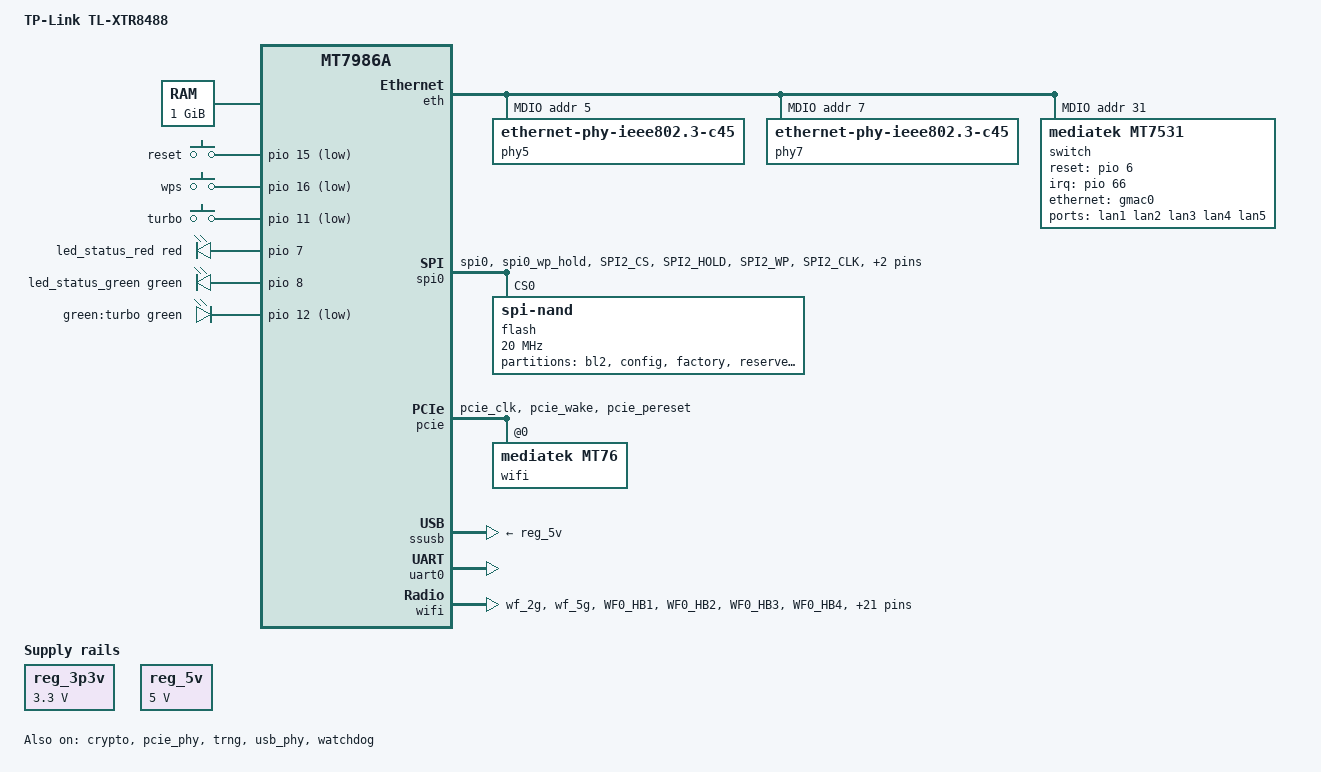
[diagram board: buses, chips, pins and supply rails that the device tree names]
// SPDX-License-Identifier: GPL-2.0-or-later OR MIT

/dts-v1/;
#include <dt-bindings/gpio/gpio.h>
#include <dt-bindings/input/input.h>
#include <dt-bindings/leds/common.h>

#include "mt7986a.dtsi"

/ {
	model = "TP-Link TL-XTR8488";
	compatible = "tplink,tl-xtr8488", "mediatek,mt7986a";

	aliases {
		serial0 = &uart0;
		label-mac-device = &gmac0;
		led-boot = &led_status_green;
		led-failsafe = &led_status_red;
		led-running = &led_status_green;
		led-upgrade = &led_status_red;
	};

	chosen {
		bootargs = "root=/dev/fit0 rootwait";
		rootdisk = <&ubi_rootdisk>;
		stdout-path = "serial0:115200n8";
	};

	memory {
		reg = <0 0x40000000 0 0x40000000>;
	};

	reg_3p3v: regulator-3p3v {
		compatible = "regulator-fixed";
		regulator-name = "fixed-3.3V";
		regulator-min-microvolt = <3300000>;
		regulator-max-microvolt = <3300000>;
		regulator-boot-on;
		regulator-always-on;
	};

	reg_5v: regulator-5v {
		compatible = "regulator-fixed";
		regulator-name = "fixed-5V";
		regulator-min-microvolt = <5000000>;
		regulator-max-microvolt = <5000000>;
		regulator-boot-on;
		regulator-always-on;
	};

	keys {
		compatible = "gpio-keys";

		reset {
			label = "reset";
			linux,code = <KEY_RESTART>;
			gpios = <&pio 15 GPIO_ACTIVE_LOW>;
		};

		wps {
			label = "wps";
			linux,code = <KEY_WPS_BUTTON>;
			gpios = <&pio 16 GPIO_ACTIVE_LOW>;
		};

		turbo {
			label = "turbo";
			linux,code = <BTN_1>;
			gpios = <&pio 11 GPIO_ACTIVE_LOW>;
		};
	};

	leds {
		compatible = "gpio-leds";

		led_status_red: status-red {
			color = <LED_COLOR_ID_RED>;
			function = LED_FUNCTION_STATUS;
			gpios = <&pio 7 GPIO_ACTIVE_HIGH>;
		};

		led_status_green: status-green {
			color = <LED_COLOR_ID_GREEN>;
			function = LED_FUNCTION_STATUS;
			gpios = <&pio 8 GPIO_ACTIVE_HIGH>;
		};

		turbo {
			label = "green:turbo";
			color = <LED_COLOR_ID_GREEN>;
			gpios = <&pio 12 GPIO_ACTIVE_LOW>;
		};
	};
};

&crypto {
	status = "okay";
};

&eth {
	status = "okay";

	gmac0: mac@0 {
		compatible = "mediatek,eth-mac";
		reg = <0>;
		phy-mode = "2500base-x";

		nvmem-cells = <&macaddr_config_1c 0>;
		nvmem-cell-names = "mac-address";

		fixed-link {
			speed = <2500>;
			full-duplex;
			pause;
		};
	};

	gmac1: mac@1 {
		compatible = "mediatek,eth-mac";
		reg = <1>;
		phy-handle = <&phy7>;
		phy-mode = "2500base-x";

		nvmem-cells = <&macaddr_config_1c 1>;
		nvmem-cell-names = "mac-address";
	};

	mdio: mdio-bus {
		#address-cells = <1>;
		#size-cells = <0>;
	};
};

&mdio {
	phy5: phy@5 {
		compatible = "ethernet-phy-ieee802.3-c45";
		reg = <5>;
		realtek,aldps-enable;
	};

	phy7: phy@7 {
		compatible = "ethernet-phy-ieee802.3-c45";
		reg = <7>;
		realtek,aldps-enable;
	};

	switch: switch@1f {
		compatible = "mediatek,mt7531";
		reg = <31>;
		reset-gpios = <&pio 6 GPIO_ACTIVE_HIGH>;
		interrupt-controller;
		#interrupt-cells = <1>;
		interrupt-parent = <&pio>;
		interrupts = <66 IRQ_TYPE_LEVEL_HIGH>;
	};
};

&switch {
	ports {
		#address-cells = <1>;
		#size-cells = <0>;

		port@0 {
			reg = <0>;
			label = "lan1";
		};

		port@1 {
			reg = <1>;
			label = "lan2";
		};

		port@2 {
			reg = <2>;
			label = "lan3";
		};

		port@3 {
			reg = <3>;
			label = "lan4";
		};

		port@5 {
			reg = <5>;
			label = "lan5";
			phy-handle = <&phy5>;
			phy-mode = "2500base-x";
		};

		port@6 {
			reg = <6>;
			ethernet = <&gmac0>;
			phy-mode = "2500base-x";

			fixed-link {
				speed = <2500>;
				full-duplex;
				pause;
			};
		};
	};
};

&spi0 {
	pinctrl-names = "default";
	pinctrl-0 = <&spi_flash_pins>;
	status = "okay";

	flash@0 {
		compatible = "spi-nand";
		#address-cells = <1>;
		#size-cells = <1>;
		reg = <0>;

		spi-max-frequency = <20000000>;
		spi-tx-bus-width = <4>;
		spi-rx-bus-width = <4>;

		partitions {
			compatible = "fixed-partitions";
			#address-cells = <1>;
			#size-cells = <1>;

			partition@0 {
				label = "bl2";
				reg = <0x000000 0x0100000>;
				read-only;
			};

			partition@100000 {
				label = "config";
				reg = <0x100000 0x0040000>;
				read-only;

				nvmem-layout {
					compatible = "fixed-layout";
					#address-cells = <1>;
					#size-cells = <1>;

					macaddr_config_1c: macaddr@1c {
						compatible = "mac-base";
						reg = <0x1c 0x6>;
						#nvmem-cell-cells = <1>;
					};
				};
			};

			partition@140000 {
				label = "factory";
				reg = <0x140000 0x0040000>;
				read-only;

				nvmem-layout {
					compatible = "fixed-layout";
					#address-cells = <1>;
					#size-cells = <1>;

					eeprom_factory_0: eeprom@0 {
						reg = <0x0 0x1000>;
					};

					eeprom_factory_1000: eeprom@1000 {
						reg = <0x1000 0xe00>;
					};
				};
			};

			partition@180000 {
				label = "reserved";
				reg = <0x180000 0x0200000>;
				read-only;
			};

			partition@380000 {
				label = "fip";
				reg = <0x380000 0x0200000>;
				read-only;
			};

			partition@580000 {
				compatible = "linux,ubi";
				reg = <0x580000 0x7800000>;
				label = "ubi";

				volumes {
					ubi_rootdisk: ubi-volume-fit {
						volname = "fit";
					};
				};
			};
		};
	};
};

&pcie {
	pinctrl-names = "default";
	pinctrl-0 = <&pcie_pins>;
	status = "okay";

	pcie@0,0 {
		reg = <0x0000 0 0 0 0>;

		wifi@0,0 {
			compatible = "mediatek,mt76";
			reg = <0x0000 0 0 0 0>;
			ieee80211-freq-limit = <5470000 5875000>;

			nvmem-cells = <&eeprom_factory_1000>, <&macaddr_config_1c 3>;
			nvmem-cell-names = "eeprom", "mac-address";
		};
	};
};

&pcie_phy {
	status = "okay";
};

&pio {
	pcie_pins: pcie-pins {
		mux {
			function = "pcie";
			groups = "pcie_clk", "pcie_wake", "pcie_pereset";
		};
	};

	spi_flash_pins: spi-flash-pins {
		mux {
			function = "spi";
			groups = "spi0", "spi0_wp_hold";
		};
		conf-pu {
			pins = "SPI2_CS", "SPI2_HOLD", "SPI2_WP";
			drive-strength = <8>;
			mediatek,pull-up-adv = <0>; /* bias-disable */
		};
		conf-pd {
			pins = "SPI2_CLK", "SPI2_MOSI", "SPI2_MISO";
			drive-strength = <8>;
			mediatek,pull-down-adv = <0>; /* bias-disable */
		};
	};

	wf_2g_5g_pins: wf_2g_5g-pins {
		mux {
			function = "wifi";
			groups = "wf_2g", "wf_5g";
		};
		conf {
			pins = "WF0_HB1", "WF0_HB2", "WF0_HB3", "WF0_HB4",
			       "WF0_HB0", "WF0_HB0_B", "WF0_HB5", "WF0_HB6",
			       "WF0_HB7", "WF0_HB8", "WF0_HB9", "WF0_HB10",
			       "WF0_TOP_CLK", "WF0_TOP_DATA", "WF1_HB1",
			       "WF1_HB2", "WF1_HB3", "WF1_HB4", "WF1_HB0",
			       "WF1_HB5", "WF1_HB6", "WF1_HB7", "WF1_HB8",
			       "WF1_TOP_CLK", "WF1_TOP_DATA";
			drive-strength = <4>;
		};
	};
};

&ssusb {
	vusb33-supply = <&reg_3p3v>;
	vbus-supply = <&reg_5v>;
	status = "okay";
};

&trng {
	status = "okay";
};

&uart0 {
	status = "okay";
};

&usb_phy {
	status = "okay";
};

&watchdog {
	status = "okay";
};

&wifi {
	pinctrl-names = "default";
	pinctrl-0 = <&wf_2g_5g_pins>;
	ieee80211-freq-limit = <2400000 2500000>, <5170000 5350000>;
	nvmem-cells = <&eeprom_factory_0>, <&macaddr_config_1c 2>;
	nvmem-cell-names = "eeprom", "mac-address";
	status = "okay";
};
